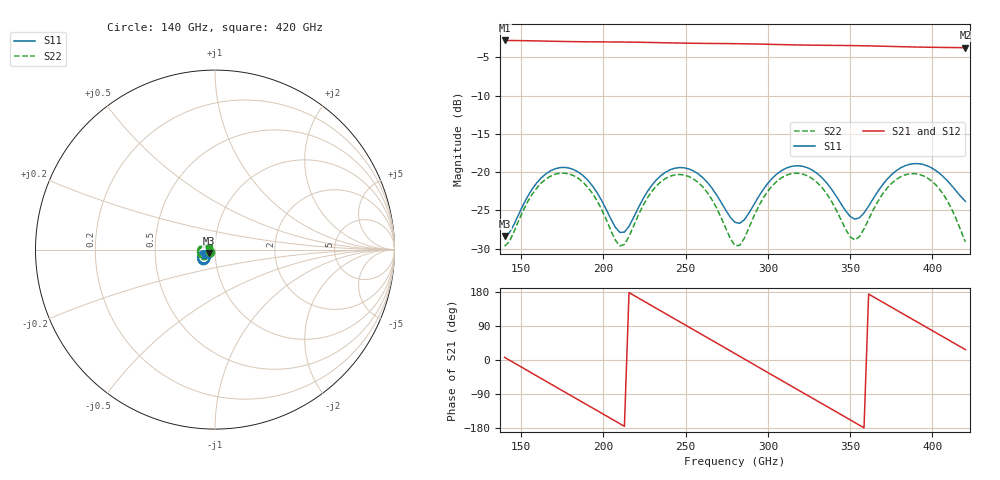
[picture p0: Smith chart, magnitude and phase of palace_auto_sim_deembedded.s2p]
! Created with skrf 1.11.0 (http://scikit-rf.org).
# GHz S DB R 50.0
!freq dBS11 angS11 dBS21 angS21 dBS12 angS12 dBS22 angS22
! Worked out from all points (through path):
!   101 points, 140 GHz to 420 GHz, reference 50 ohm
!   highest |S21| = -2.78 dB at 140 GHz (marker M1); lowest = -3.7 dB at 420 GHz (marker M2)
!   group delay of S21, straight-line fit = 6.94 ps
!   lowest |S11| = -28.3 dB at 140 GHz (marker M3), VSWR 1.08, Z = 46.9 - j2 ohm
!   |S11| at or under -10 dB: start of sweep to end of sweep
!   |S22| runs from -29.7 to -20.1 dB; largest |S21 - S12| = 8.1e-14
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140  -28.32 -146.2  -2.78 7.0  -2.78 7.0  -29.66 -155.6
151.2  -24.31 -118.0  -2.81 -21.1  -2.81 -21.1  -25.04 -128.2
165.2  -20.19 -130.3  -2.87 -56.2  -2.87 -56.2  -20.88 -143.6
176.4  -19.37 -148.0  -2.92 -84.2  -2.92 -84.2  -20.12 -163.2
187.6  -20.43 -165.0  -2.95 -112.1  -2.95 -112.1  -21.30 177.8
210  -27.87 -152.4  -2.99 -168.0  -2.99 -168.0  -29.63 -168.8
221.2  -24.68 -120.4  -3.02 163.8  -3.02 163.8  -25.63 -135.7
235.2  -20.40 -128.7  -3.08 128.8  -3.08 128.8  -21.21 -148.1
246.4  -19.39 -144.7  -3.12 100.8  -3.12 100.8  -20.30 -166.7
257.6  -20.21 -160.3  -3.16 72.9  -3.16 72.9  -21.34 174.9
280  -26.55 -151.5  -3.20 16.9  -3.20 16.9  -29.59 -173.9
299.6  -21.54 -122.0  -3.28 -32.3  -3.28 -32.3  -22.58 -141.6
313.6  -19.28 -137.7  -3.35 -67.2  -3.35 -67.2  -20.22 -162.3
327.6  -19.81 -156.4  -3.40 -102.0  -3.40 -102.0  -20.94 174.9
338.8  -22.26 -165.2  -3.43 -129.9  -3.43 -129.9  -23.85 162.9
352.8  -26.13 -143.6  -3.46 -165.0  -3.46 -165.0  -28.85 -170.3
364  -23.45 -119.2  -3.51 166.9  -3.51 166.9  -24.92 -143.8
375.2  -20.30 -122.6  -3.57 138.9  -3.57 138.9  -21.45 -152.3
386.4  -18.95 -135.4  -3.63 111.0  -3.63 111.0  -20.20 -169.7
397.6  -19.23 -149.1  -3.67 83.2  -3.67 83.2  -20.85 171.8
408.8  -21.06 -157.9  -3.70 55.3  -3.70 55.3  -23.65 157.5
420  -23.80 -151.3  -3.73 27.4  -3.73 27.4  -29.10 166.6
